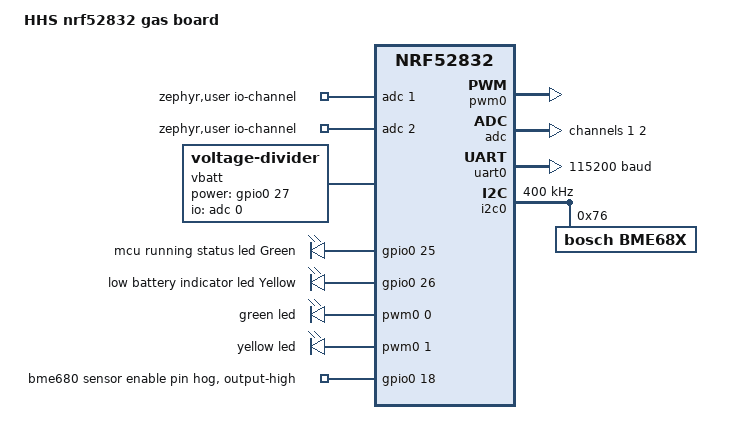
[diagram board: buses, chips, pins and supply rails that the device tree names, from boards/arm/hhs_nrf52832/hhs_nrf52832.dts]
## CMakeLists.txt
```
# SPDX-License-Identifier: Apache-2.0

cmake_minimum_required(VERSION 3.20.0)

set(BOARD_ROOT ${CMAKE_SOURCE_DIR}) 
set(APP_ROOT ${CMAKE_SOURCE_DIR}) 
# BME68X IAQ Driver
list(APPEND ZEPHYR_EXTRA_MODULES
  ${CMAKE_CURRENT_SOURCE_DIR}/drivers
)

find_package(Zephyr 3.3.99 EXACT)
project(bme68x_iaq_sample)

# The common headers required for both the BME68x_IAQ driver and the application
zephyr_include_directories(include)

target_sources(app PRIVATE src/main.c)
```

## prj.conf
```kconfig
CONFIG_I2C=y
CONFIG_SENSOR=y
CONFIG_SENSOR_INFO=y

# Temperature, Pressure, Humidity
CONFIG_BME68X=y
# Gas Mode(IAQ, CO2, VOC)
CONFIG_BME68X_IAQ=y
# CONFIG_BME68X_LOG_LEVEL_DBG=y

# Settings - Used to store real-time device configuration to flash.
CONFIG_SETTINGS=y
CONFIG_SETTINGS_FCB=y
CONFIG_FCB=y
CONFIG_FLASH=y
CONFIG_FLASH_PAGE_LAYOUT=y
CONFIG_FLASH_MAP=y
CONFIG_STREAM_FLASH=y
CONFIG_MPU_ALLOW_FLASH_WRITE=y

CONFIG_NEWLIB_LIBC=y
CONFIG_NEWLIB_LIBC_FLOAT_SCANF=y

CONFIG_SERIAL=y
CONFIG_CONSOLE=y
CONFIG_UART_CONSOLE=y
CONFIG_LOG=y
CONFIG_LOG_MODE_DEFERRED=y
CONFIG_LOG_INFO_COLOR_GREEN=y

CONFIG_ASSERT=y
CONFIG_REBOOT=y
CONFIG_FPU=y
```

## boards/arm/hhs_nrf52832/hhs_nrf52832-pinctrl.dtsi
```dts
/*
 * Copyright (c) 2022 Nordic Semiconductor
 * SPDX-License-Identifier: Apache-2.0
 */

&pinctrl {
	uart0_default: uart0_default {
		group1 {
			psels = <NRF_PSEL(UART_TX, 0, 6)>,
                    <NRF_PSEL(UART_RX, 0, 8)>;
		};
	};

	uart0_sleep: uart0_sleep {
		group1 {
			psels = <NRF_PSEL(UART_TX, 0, 6)>,
                    <NRF_PSEL(UART_RX, 0, 8)>;
			low-power-enable;
		};
	};

	i2c0_default: i2c0_default {
		group1 {
			psels = <NRF_PSEL(TWIM_SDA, 0, 19)>,
                    <NRF_PSEL(TWIM_SCL, 0, 20)>;
                bias-pull-up;
		};
	};

	i2c0_sleep: i2c0_sleep {
		group1 {
			psels = <NRF_PSEL(TWIM_SDA, 0, 19)>,
                    <NRF_PSEL(TWIM_SCL, 0, 20)>;
			low-power-enable;
		};
	};

	pwm0_default: pwm0_default {
		group1 {
			psels = <NRF_PSEL(PWM_OUT0, 0, 25)>,
                    <NRF_PSEL(PWM_OUT1, 0, 26)>;
		};
	};

	pwm0_sleep: pwm0_sleep {
		group1 {
			psels = <NRF_PSEL(PWM_OUT0, 0, 25)>,
                    <NRF_PSEL(PWM_OUT1, 0, 26)>;
			low-power-enable;
		};
	};
};
```

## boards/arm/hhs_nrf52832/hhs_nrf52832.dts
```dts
/**
* @file hhs_nrf52832.dts
* @brief
* @author bradkim06
* @version
* @date 2023-10-17
*/

/dts-v1/;
#include <nordic/nrf52832_qfaa.dtsi>
#include "hhs_nrf52832-pinctrl.dtsi"

/ {
	model = "HHS nrf52832 gas board";
	compatible = "nordic,hhs_nrf52832";

	zephyr,user {
		io-channels = <&adc 1>, <&adc 2>;
	};

	chosen {
		zephyr,console = &uart0;
		zephyr,shell-uart = &uart0;
		zephyr,uart-mcumgr = &uart0;
		zephyr,bt-mon-uart = &uart0;
		zephyr,bt-c2h-uart = &uart0;
		zephyr,sram = &sram0;
		zephyr,flash = &flash0;
		zephyr,code-partition = &slot0_partition;
	};

	vbatt {
		compatible = "voltage-divider";
		status = "okay";
		io-channels = <&adc 0>;
		output-ohms = <180000>;
		full-ohms = <(1500000 + 180000)>;
		power-gpios = <&gpio0 27 GPIO_ACTIVE_HIGH>;
	};

	leds {
		compatible = "gpio-leds";
        status = "okay";

		led0: led_0 {
			gpios = <&gpio0 25 GPIO_ACTIVE_HIGH>;
			label = "mcu running status led Green";
		};
		led1: led_1 {
			gpios = <&gpio0 26 GPIO_ACTIVE_HIGH>;
			label = "low battery indicator led Yellow";
		};
	};

	pwmleds {
		compatible = "pwm-leds";
        status = "okay";
        label = "status led";

		pwm_led0: pwm_led_0 {
			pwms = <&pwm0 0 PWM_MSEC(20) PWM_POLARITY_NORMAL>;
			label = "green led";
		};
		pwm_led1: pwm_led_1 {
			pwms = <&pwm0 1 PWM_MSEC(20) PWM_POLARITY_NORMAL>;
			label = "yellow led";
		};
	};

	/* These aliases are provided for compatibility with samples */
	aliases {
		watchdog0 = &wdt0;
		led0 = &led0;
		led1 = &led1;
        greenled = &pwm_led0;
        yellowled = &pwm_led1;
	};
};

&pwm0 {
	status = "okay";
	pinctrl-0 = <&pwm0_default>;
	pinctrl-1 = <&pwm0_sleep>;
	pinctrl-names = "default", "sleep";
};

&nfct {
	status = "disabled";
};

&adc {
	status = "okay";
	#address-cells = <1>;
	#size-cells = <0>;

	/* datasheet value different, ideal 90uA +-20
	 *
	 * 1% current 5uA -> sensor vout = (Curr * Rl) * (1 + R1 / R2) =
	 * Max Output Voltage(25% oxygen) = (4.85*25*0.001*0.001*100)*(1+5100/100) = 630mV
	 * ADC Reference VDD 1/4 = 750mV
	 */
	o2_mon: channel@1 {
		reg = <1>;
		zephyr,gain = "ADC_GAIN_1";
		zephyr,reference = "ADC_REF_VDD_1_4";
		zephyr,vref-mv = <750>;
		zephyr,acquisition-time = <ADC_ACQ_TIME_DEFAULT>;
		zephyr,input-positive = <NRF_SAADC_AIN1>; /* P0.03 */
		zephyr,resolution = <14>;
		zephyr,oversampling = <8>;
	};

	gas_mon: channel@2 {
		reg = <2>;
		zephyr,gain = "ADC_GAIN_1";
		zephyr,reference = "ADC_REF_VDD_1_4";
		zephyr,vref-mv = <750>;
		zephyr,acquisition-time = <ADC_ACQ_TIME_DEFAULT>;
		zephyr,input-positive = <NRF_SAADC_AIN2>; /* P0.04 */
		zephyr,resolution = <14>;
		zephyr,oversampling = <8>;
	 };
};

&gpio0 {
	status = "okay";
	node-1 {
		gpio-hog;
		gpios = <18 GPIO_ACTIVE_HIGH>;
		output-high;
		line-name = "bme680 sensor enable pin";
	};
};

serial: &uart0 {
	status = "okay";
	compatible = "nordic,nrf-uarte";
	current-speed = <115200>;
	pinctrl-0 = <&uart0_default>;
	pinctrl-1 = <&uart0_sleep>;
	pinctrl-names = "default", "sleep";
};

i2c: &i2c0 {
	compatible = "nordic,nrf-twim";
	status = "okay";
	clock-frequency = <I2C_BITRATE_FAST>;

	pinctrl-0 = <&i2c0_default>;
	pinctrl-1 = <&i2c0_sleep>;
	pinctrl-names = "default", "sleep";

	bme68x:bme68x@76 {
		compatible = "bosch,bme68x";
		status = "okay";
		friendly-name = "bosch environment sensor";
		reg = <0x76>;
	};
};

&flash0 {
	partitions {
		compatible = "fixed-partitions";
		#address-cells = <1>;
		#size-cells = <1>;

		boot_partition: partition@0 {
			label = "mcuboot";
			reg = <0x00000000 0xc000>;
		};
		slot0_partition: partition@c000 {
			label = "image-0";
			reg = <0x0000C000 0x37000>;
		};
		slot1_partition: partition@43000 {
			label = "image-1";
			reg = <0x00043000 0x37000>;
		};
		storage_partition: partition@7a000 {
			label = "storage";
			reg = <0x0007a000 0x00006000>;
		};
	};
};
```

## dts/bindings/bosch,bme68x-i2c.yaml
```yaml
# Copyright (c) 2018, Bosch Sensortec GmbH
# SPDX-License-Identifier: Apache-2.0

description: |
    The BME680 is an integrated environmental sensor that measures
    temperature, pressure, humidity and air quality

compatible: "bosch,bme68x"

include: [sensor-device.yaml, i2c-device.yaml]
```

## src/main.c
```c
/**
 * @file main.c
 * @brief
 * @author bradkim02
 * @version v0.01
 * @date 2023-10-01
 */
#include <zephyr/kernel.h>
#include <zephyr/logging/log.h>

#include <drivers/bme68x_iaq.h>

#include "bme680_app.h"

LOG_MODULE_REGISTER(bme680, CONFIG_APP_LOG_LEVEL);

const struct sensor_trigger trig = {
	.chan = SENSOR_CHAN_ALL,
	.type = SENSOR_TRIG_TIMER,
};

struct bme680_data bme680;

static void trigger_handler(const struct device *dev, const struct sensor_trigger *trig)
{
	// sensor_sample_fetch(dev);
	sensor_channel_get(dev, SENSOR_CHAN_AMBIENT_TEMP, &bme680.temp);
	sensor_channel_get(dev, SENSOR_CHAN_PRESS, &bme680.press);
	sensor_channel_get(dev, SENSOR_CHAN_HUMIDITY, &bme680.humidity);
#if defined(CONFIG_BME68X_IAQ)
	sensor_channel_get(dev, SENSOR_CHAN_IAQ, &bme680.iaq);
	sensor_channel_get(dev, SENSOR_CHAN_CO2, &bme680.eCO2);
	sensor_channel_get(dev, SENSOR_CHAN_VOC, &bme680.breathVOC);
#endif

	LOG_INF("temp: %d.%06d°C; press: %d.%06dPa; humidity: %d.%06d%%", bme680.temp.val1,
		bme680.temp.val2, bme680.press.val1, bme680.press.val2, bme680.humidity.val1,
		bme680.humidity.val2);
#if defined(CONFIG_BME68X_IAQ)
	LOG_INF("iaq: %d(acc:%d); CO2: %dppm VOC: %dppm", bme680.iaq.val1, bme680.iaq.val2,
		bme680.eCO2.val1, bme680.breathVOC.val1);
#endif
};

int main(void)
{
	LOG_INF("bme680 iaq driver sample");
	const struct device *const dev = DEVICE_DT_GET_ANY(bosch_bme68x);
	if (!device_is_ready(dev)) {
		LOG_ERR("device is not ready");
		return 0;
	}

	k_sleep(K_SECONDS(2));

	int ret = sensor_trigger_set(dev, &trig, trigger_handler);
	if (ret) {
		LOG_ERR("couldn't set trigger");
		return 0;
	}

	while (1) {
		k_sleep(K_SECONDS(1));
	}
	return 0;
}
```

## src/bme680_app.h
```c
#ifndef __APP_BME680_H__
#define __APP_BME680_H__

#include <zephyr/drivers/sensor.h>

#if defined(CONFIG_BME68X)
struct bme680_data {
	struct sensor_value temp;
	struct sensor_value press;
	struct sensor_value humidity;
#if defined(CONFIG_BME68X_IAQ)
	struct sensor_value iaq;
	struct sensor_value eCO2;
	struct sensor_value breathVOC;
#endif
};

extern struct bme680_data bme680;

#endif
#endif
```
